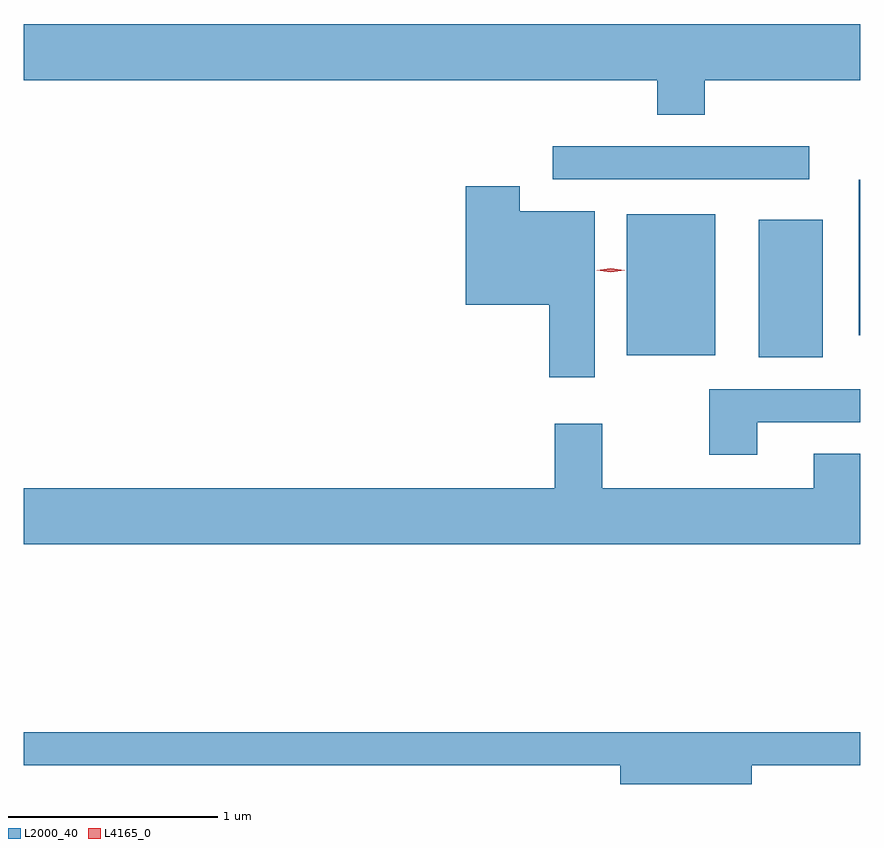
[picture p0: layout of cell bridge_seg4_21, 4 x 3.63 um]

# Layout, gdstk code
import gdstk
lib = gdstk.Library(unit=1e-6, precision=1e-09)
def R(c, l, rs):  # rectangles x0, y0, x1, y1
    for r in rs: c.add(gdstk.rectangle(r[:2], r[2:], *l))
def P(c, l, *ps):  # polygons
    for p in ps: c.add(gdstk.Polygon(p, *l))
L2000_40 = (2000, 40)
L4165_0 = (4165, 0)

bridge_seg4_21 = lib.new_cell('bridge_seg4_21')
R(bridge_seg4_21, L2000_40, [(1180.886,1293.411,1181.194,1294.069), (1180.256,1293.421,1180.679,1294.094), (1181.366,1293.516,1181.373,1294.259), (1179.903,1294.261,1181.128,1294.419)])
P(bridge_seg4_21, L2000_40, [(1180.629,1294.736),(1181.373,1294.736),(1181.373,1295.004),(1177.373,1295.004),(1177.373,1294.736),(1180.401,1294.736),(1180.401,1294.571),(1180.629,1294.571)],
  [(1180.104,1294.109),(1179.744,1294.109),(1179.744,1294.229),(1179.486,1294.229),(1179.486,1293.661),(1179.886,1293.661),(1179.886,1293.316),(1180.104,1293.316)],
  [(1180.879,1293.101),(1181.373,1293.101),(1181.373,1293.259),(1180.651,1293.259),(1180.651,1292.946),(1180.879,1292.946)],
  [(1181.373,1292.949),(1181.151,1292.949),(1181.151,1292.784),(1180.139,1292.784),(1180.139,1293.094),(1179.911,1293.094),(1179.911,1292.784),(1177.373,1292.784),(1177.373,1292.516),(1181.373,1292.516)],
  [(1180.854,1291.461),(1181.373,1291.461),(1181.373,1291.619),(1177.373,1291.619),(1177.373,1291.461),(1180.226,1291.461),(1180.226,1291.371),(1180.854,1291.371)])
P(bridge_seg4_21, L4165_0, [(1180.179,1293.817),(1180.113,1293.827),(1180.113,1293.827),(1180.113,1293.828),(1180.18,1293.837),(1180.246,1293.827),(1180.246,1293.826),(1180.246,1293.826)])

lib.write_gds('bridge_seg4_21.gds')
